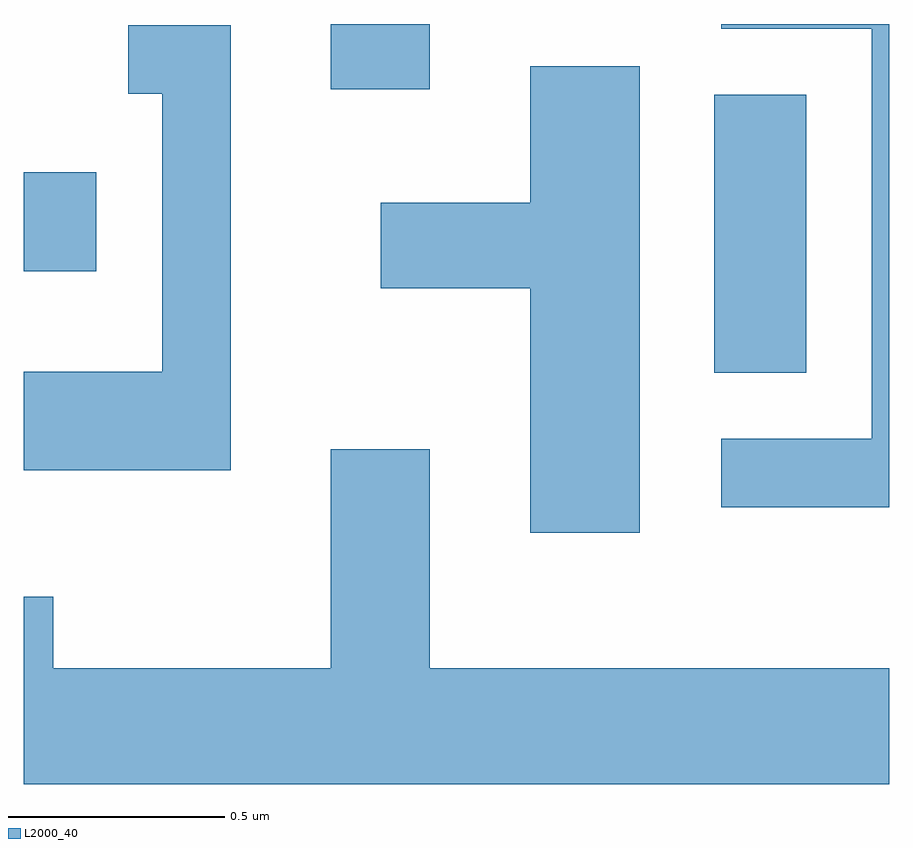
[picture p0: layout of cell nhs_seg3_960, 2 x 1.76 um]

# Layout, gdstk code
import gdstk
lib = gdstk.Library(unit=1e-6, precision=1e-09)
def R(c, l, rs):  # rectangles x0, y0, x1, y1
    for r in rs: c.add(gdstk.rectangle(r[:2], r[2:], *l))
def P(c, l, *ps):  # polygons
    for p in ps: c.add(gdstk.Polygon(p, *l))
L2000_40 = (2000, 40)

nhs_seg3_960 = lib.new_cell('nhs_seg3_960')
R(nhs_seg3_960, L2000_40, [(194.206,1118.086,194.419,1118.729), (192.611,1118.321,192.779,1118.549), (193.321,1118.741,193.549,1118.892)])
P(nhs_seg3_960, L2000_40, [(194.611,1118.892),(194.223,1118.892),(194.223,1118.881),(194.571,1118.881),(194.571,1117.934),(194.223,1117.934),(194.223,1117.776),(194.611,1117.776)],
  [(193.089,1118.889),(192.853,1118.889),(192.853,1118.731),(192.931,1118.731),(192.931,1118.089),(192.611,1118.089),(192.611,1117.861),(193.089,1117.861)],
  [(194.034,1118.794),(193.781,1118.794),(193.781,1118.479),(193.436,1118.479),(193.436,1118.281),(193.781,1118.281),(193.781,1117.716),(194.034,1117.716)],
  [(194.611,1117.404),(193.549,1117.404),(193.549,1117.909),(193.321,1117.909),(193.321,1117.404),(192.679,1117.404),(192.679,1117.569),(192.611,1117.569),(192.611,1117.136),(194.611,1117.136)])

lib.write_gds('nhs_seg3_960.gds')
